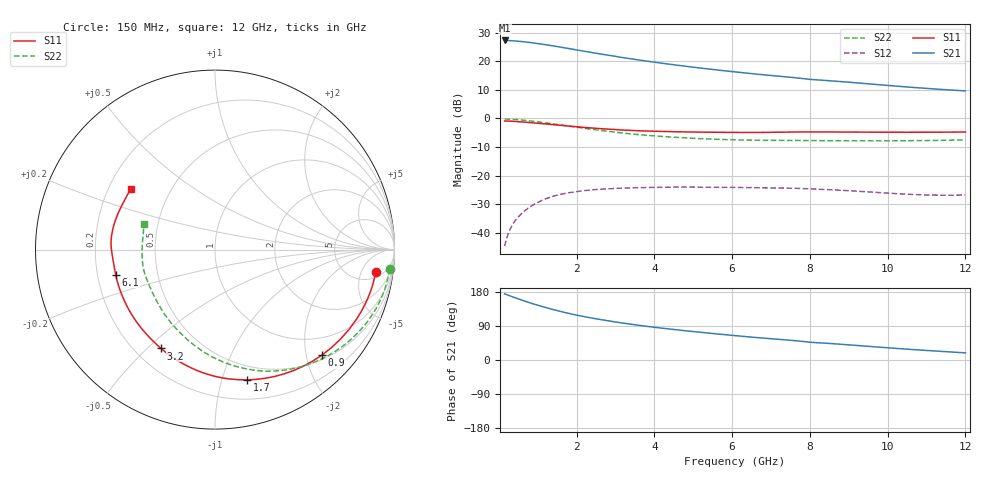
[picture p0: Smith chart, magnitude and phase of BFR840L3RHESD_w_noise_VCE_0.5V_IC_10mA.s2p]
! Infineon Technologies  Discrete & RF Semiconductors
! BFR840L3RHESD
! VCE =  0.5 V,  IC =  10 mA
! Common Emitter S-Parameters:  Jun 2012
# GHz  S  MA  R  50
!  f  S11  S21  S12  S22
! GHz  MAG  ANG  MAG  ANG  MAG  ANG  MAG  ANG
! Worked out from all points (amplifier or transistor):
!   91 points, 150 MHz to 12 GHz, reference 50 ohm
!   highest |S21| = 27.3 dB at 150 MHz (marker M1)
!   |S21| within 3 dB of that: start of sweep to 1.87 GHz
!   unconditionally stable (mu >= 1): 8.272 GHz to end of sweep
!   at 1.3 GHz: K = 0.14, MSG = 26.7 dB, |S12| = -27.7 dB
!   at 4.3 GHz: K = 0.44, MSG = 21.6 dB, |S12| = -24.1 dB
!   at 12 GHz: K = 2.02, MAG = 12.5 dB, |S12| = -26.8 dB
!   lowest NFmin = 0.70 dB at 450 MHz
!   S11 on the Smith chart (normalised r, x): 150 MHz: 7, -9; 900 MHz: 0.59, -2.32; 1.7 GHz: 0.37, -1.21; 3.2 GHz: 0.30, -0.55; 6.1 GHz: 0.28, -0.11; 12 GHz: 0.29, +0.30
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0.15  0.904 -7.9  23.28 174.6  0.0058 80.2  0.9791 -6.3
0.3  0.8966 -15.6  23.09 168.8  0.0118 77.0  0.9713 -13.0
0.5  0.8796 -25.7  22.54 161.4  0.0189 74.2  0.9516 -21.5
0.7  0.8592 -35.3  21.82 154.3  0.0252 68.9  0.9242 -29.5
0.9  0.8372 -44.5  21 147.7  0.031 62.8  0.8922 -37.1
1.1  0.8144 -53.1  20.11 141.6  0.0365 57.1  0.858 -44.4
1.3  0.7915 -61.2  19.16 135.8  0.0413 52.5  0.823 -51.2
1.5  0.7689 -68.9  18.2 130.5  0.0454 48.6  0.7882 -57.7
1.7  0.7472 -76.2  17.26 125.4  0.0486 45.1  0.7539 -63.8
2  0.7167 -86.5  15.91 118.5  0.0524 40.0  0.7044 -72.4
2.2  0.6979 -92.7  15.07 114.4  0.0545 36.6  0.6736 -77.6
2.4  0.6808 -98.5  14.28 110.6  0.0563 33.5  0.6452 -82.6
2.7  0.6584 -106.4  13.21 105.4  0.0581 30.1  0.6085 -89.4
3.2  0.6273 -118.6  11.64 97.3  0.0603 24.5  0.5552 -100.0
3.6  0.6099 -127.0  10.6 91.6  0.0614 21.1  0.5221 -107.6
4.2  0.5934 -138.1  9.293 84.0  0.0625 17.3  0.4848 -118.0
5.1  0.578 -152.6  7.775 74.0  0.0627 12.3  0.4466 -132.0
6.1  0.5707 -165.9  6.527 64.1  0.062 8.2  0.4225 -145.7
8  0.5815 172.1  4.843 46.9  0.0584 2.0  0.4102 -169.8
8.5  0.5806 168.1  4.59 43.7  0.0566 0.9  0.4082 -174.0
10.5  0.5739 152.3  3.567 28.6  0.0471 2.3  0.4084 169.1
12  0.5797 144.1  3.04 18.8  0.0456 11.3  0.4217 160.2
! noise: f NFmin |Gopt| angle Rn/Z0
0.45  0.7  0.31  6  0.16
0.9  0.73  0.31  11  0.15
1.9  0.76  0.33  30  0.15
3.5  0.77  0.32  51  0.14
4  0.79  0.32  60  0.13
5.5  0.82  0.33  74  0.13
7  0.88  0.32  93  0.12
8  0.94  0.3  105  0.11
10  1.04  0.29  125  0.1
12  1.18  0.26  161  0.09
